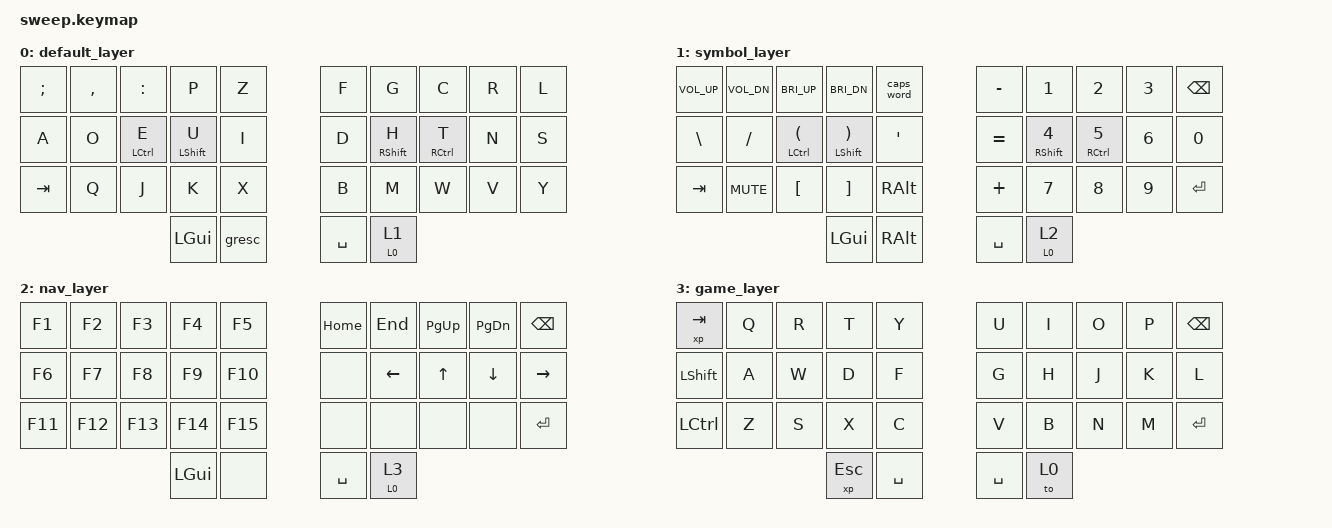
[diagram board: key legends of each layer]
// Copyright (c) 2022 The ZMK Contributors
// SPDX-License-Identifier: MIT

#include <behaviors.dtsi>
#include <dt-bindings/zmk/keys.h>
#include <dt-bindings/zmk/bt.h>

#define U_MOD &mt LSHFT U
#define E_MOD &mt LCTRL E

#define H_MOD &mt RSHFT H
#define T_MOD &mt RCTRL T

#define VOL_UP &kp C_VOL_UP
#define VOL_DN &kp C_VOL_DN

#define BRI_UP &kp C_BRI_UP
#define BRI_DN &kp C_BRI_DN

#define RP_MOD &mt LSHFT RPAR
#define LP_MOD &mt LCTRL LPAR

#define N4_MOD &mt RSHFT N4
#define N5_MOD &mt RCTRL N5


/ {
    behaviors {
        lht: layer_hold_tap {
            compatible = "zmk,behavior-hold-tap";
            #binding-cells = <2>;
            flavor = "tap-preferred";
            tapping-term-ms = <200>;
            bindings = <&to>, <&to>;
        };
    };
    
    keymap {
        compatible = "zmk,keymap";
        default_layer {
            bindings = <
        //╭──────────┬──────────┬──────────┬──────────┬──────────╮   ╭──────────┬──────────┬──────────┬──────────┬──────────╮
            &kp SEMI  &kp COMMA  &kp COLON    &kp P      &kp Z          &kp F      &kp G      &kp C      &kp R      &kp L    
        //├──────────┼──────────┼──────────┼──────────┼──────────┤   ├──────────┼──────────┼──────────┼──────────┼──────────┤
             &kp A      &kp O      E_MOD      U_MOD      &kp I          &kp D      H_MOD      T_MOD      &kp N      &kp S    
        //├──────────┼──────────┼──────────┼──────────┼──────────┤   ├──────────┼──────────┼──────────┼──────────┼──────────┤
            &kp TAB     &kp Q      &kp J      &kp K      &kp X          &kp B      &kp M      &kp W      &kp V      &kp Y    
        //╰──────────┴──────────┴──────────┼──────────┼──────────┤   ├──────────┼──────────┼──────────┴──────────┴──────────╯
                                             &kp LGUI    &gresc       &kp SPACE   &lht 0 1  
        //                                 ╰──────────┴──────────╯   ╰──────────┴──────────╯
            >;
        };

        symbol_layer {
            bindings = <
        //╭──────────┬──────────┬──────────┬──────────┬──────────╮   ╭──────────┬──────────┬──────────┬──────────┬──────────╮
             VOL_UP     VOL_DN     BRI_UP     BRI_DN   &caps_word     &kp MINUS    &kp N1     &kp N2     &kp N3    &kp BSPC  
        //├──────────┼──────────┼──────────┼──────────┼──────────┤   ├──────────┼──────────┼──────────┼──────────┼──────────┤
            &kp BSLH   &kp FSLH    LP_MOD     RP_MOD    &kp SQT       &kp EQUAL    N4_MOD     N5_MOD     &kp N6     &kp N0   
        //├──────────┼──────────┼──────────┼──────────┼──────────┤   ├──────────┼──────────┼──────────┼──────────┼──────────┤
            &kp TAB   &kp C_MUTE  &kp LBKT   &kp RBKT   &kp RALT       &kp PLUS    &kp N7     &kp N8     &kp N9    &kp RET   
        //╰──────────┴──────────┴──────────┼──────────┼──────────┤   ├──────────┼──────────┼──────────┴──────────┴──────────╯
                                             &kp LGUI   &kp RALT      &kp SPACE   &lht 0 2  
        //                                 ╰──────────┴──────────╯   ╰──────────┴──────────╯
            >;
        };

        nav_layer {
            bindings = <
        //╭──────────┬──────────┬──────────┬──────────┬──────────╮   ╭──────────┬──────────┬──────────┬──────────┬──────────╮
             &kp F1     &kp F2     &kp F3     &kp F4     &kp F5        &kp HOME   &kp END   &kp PG_UP  &kp PG_DN   &kp BSPC  
        //├──────────┼──────────┼──────────┼──────────┼──────────┤   ├──────────┼──────────┼──────────┼──────────┼──────────┤
             &kp F6     &kp F7     &kp F8     &kp F9    &kp F10         &none     &kp LEFT    &kp UP    &kp DOWN  &kp RIGHT  
        //├──────────┼──────────┼──────────┼──────────┼──────────┤   ├──────────┼──────────┼──────────┼──────────┼──────────┤
            &kp F11    &kp F12    &kp F13    &kp F14    &kp F15         &none      &none      &none      &none      &kp RET  
        //╰──────────┴──────────┴──────────┼──────────┼──────────┤   ├──────────┼──────────┼──────────┴──────────┴──────────╯
                                             &kp LGUI    &none        &kp SPACE   &lht 0 3  
        //                                 ╰──────────┴──────────╯   ╰──────────┴──────────╯
            >;
        };

        game_layer {
            bindings = <
        //╭──────────┬──────────┬──────────┬──────────┬──────────╮   ╭──────────┬──────────┬──────────┬──────────┬──────────╮
            &xp TAB     &kp Q      &kp R      &kp T      &kp Y          &kp U      &kp I      &kp O      &kp P     &kp BSPC  
        //├──────────┼──────────┼──────────┼──────────┼──────────┤   ├──────────┼──────────┼──────────┼──────────┼──────────┤
           &kp LSHFT    &kp A      &kp W      &kp D      &kp F          &kp G      &kp H      &kp J      &kp K      &kp L    
        //├──────────┼──────────┼──────────┼──────────┼──────────┤   ├──────────┼──────────┼──────────┼──────────┼──────────┤
           &kp LCTRL    &kp Z      &kp S      &kp X      &kp C          &kp V      &kp B      &kp N      &kp M     &kp RET   
        //╰──────────┴──────────┴──────────┼──────────┼──────────┤   ├──────────┼──────────┼──────────┴──────────┴──────────╯
                                             &xp ESC   &kp SPACE      &kp SPACE    &to 0    
        //                                 ╰──────────┴──────────╯   ╰──────────┴──────────╯
            >;
        };
    };
};
